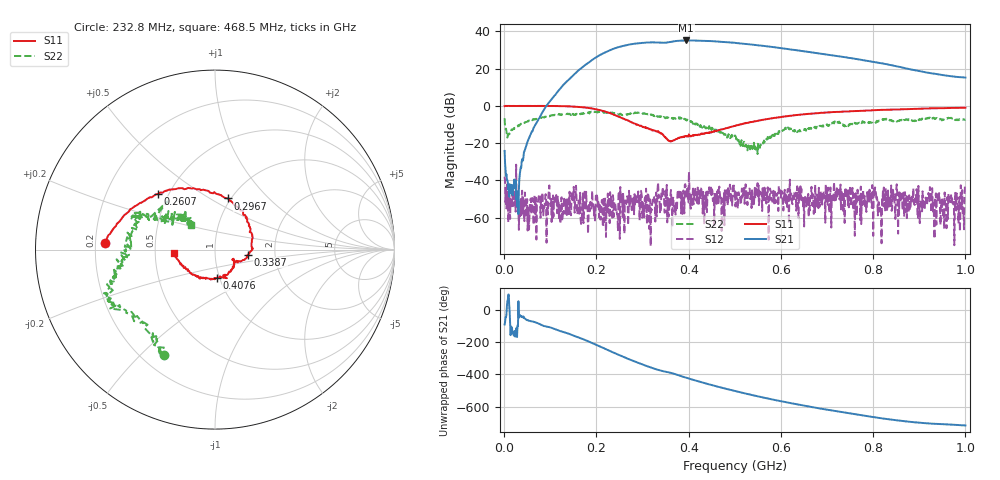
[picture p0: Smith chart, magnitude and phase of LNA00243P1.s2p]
! Created with skrf 1.9.0 (http://scikit-rf.org).
# Hz S RI R 50.0
!freq ReS11 ImS11 ReS21 ImS21 ReS12 ImS12 ReS22 ImS22
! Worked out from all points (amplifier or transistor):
!   1001 points, 1 MHz to 1 GHz, reference 50 ohm
!   highest |S21| = 35.1 dB at 394.6 MHz (marker M1)
!   |S21| within 3 dB of that: 256.7 MHz to 565.3 MHz (308.5 MHz wide, 75.1 % of centre)
!   unconditionally stable (mu >= 1): 200.9 MHz to 333.6 MHz; 333.7 MHz to 400.3 MHz; 401.1 MHz to end of sweep (the widest 3 of 28)
!   at 166.8 MHz: K = 6.13, MAG = 30.9 dB, |S12| = -63.4 dB
!   at 500.5 MHz: K = 1.83, MAG = 34.4 dB, |S12| = -45.4 dB
!   at 1 GHz: K = 1.96, MAG = 23.7 dB, |S12| = -43.3 dB
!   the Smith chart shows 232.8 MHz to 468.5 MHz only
!   S11 on the Smith chart (normalised r, x): 232.8 MHz: 0.24, +0.03; 260.7 MHz: 0.44, +0.34; 296.7 MHz: 0.97, +0.61; 338.7 MHz: 1.45, -0.08; 407.6 MHz: 0.97, -0.31; 468.5 MHz: 0.63, -0.03
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1000000  0.9859 0.000352  -0.00229 -0.0619  -0.00706 0.0105  0.3422 0.3186
1.07893e8  0.5076 -0.858  -0.8497 -1.587  -0.00254 0.00236  0.4258 -0.3822
1.67833e8  -0.2728 -0.8829  -10.55 -0.1217  -8.24e-05 0.000776  0.0218 -0.6294
2.04796e8  -0.655 -0.4267  -15.88 15.48  -0.000739 -0.00283  -0.1845 -0.6749
2.32768e8  -0.6147 0.0345  -5.387 32.05  0.00109 -0.00183  -0.2837 -0.5898
2.6074e8  -0.316 0.3114  17.71 37.58  -0.000373 5.74e-06  -0.4155 -0.4079
2.96704e8  0.0738 0.2849  44.14 19.82  -0.00449 0.00276  -0.6188 -0.2428
3.16684e8  0.1908 0.138  50.35 2.822  0.000708 0.003  -0.552 -0.1488
3.34666e8  0.2047 -0.00422  48.86 -12.11  -0.00343 0.00359  -0.5108 -0.0493
3.38662e8  0.1847 -0.0281  47.59 -14.86  -0.00194 -0.000438  -0.5196 -0.0338
3.68632e8  0.1047 -0.0596  43.12 -32.96  7.97e-05 0.00178  -0.4486 0.1413
3.94606e8  0.0645 -0.1421  27.34 -50.02  0.00343 0.00551  -0.3868 0.1944
4.07593e8  0.0117 -0.1572  17.02 -54.14  -0.000149 0.00218  -0.3313 0.1721
4.36564e8  -0.1236 -0.1406  -6.239 -55.3  0.000853 0.004  -0.1893 0.1687
4.68532e8  -0.2284 -0.0215  -27.27 -45.37  0.00301 0.00177  -0.1333 0.1344
5.005e8  -0.2524 0.139  -40 -28.97  -0.00538 0.000296  -0.1092 0.1185
5.4046e8  -0.1718 0.3377  -43.05 -7.102  0.00342 -0.00151  -0.0809 -0.00808
5.88412e8  0.0319 0.4783  -34.84 12.94  0.00247 -6.99e-05  -0.1369 -0.0812
6.67333e8  0.4018 0.4749  -12.21 24.18  -9.68e-05 -0.00358  -0.2515 -0.0605
7.53247e8  0.6694 0.2624  4.624 18.38  -0.0017 0.00305  -0.3282 0.0294
8.34166e8  0.7907 0.00585  9.603 8.409  0.000915 0.00301  -0.4205 0.0741
1e9  0.7196 -0.5341  5.754 0.3046  -0.00606 0.00311  -0.2129 0.3674
